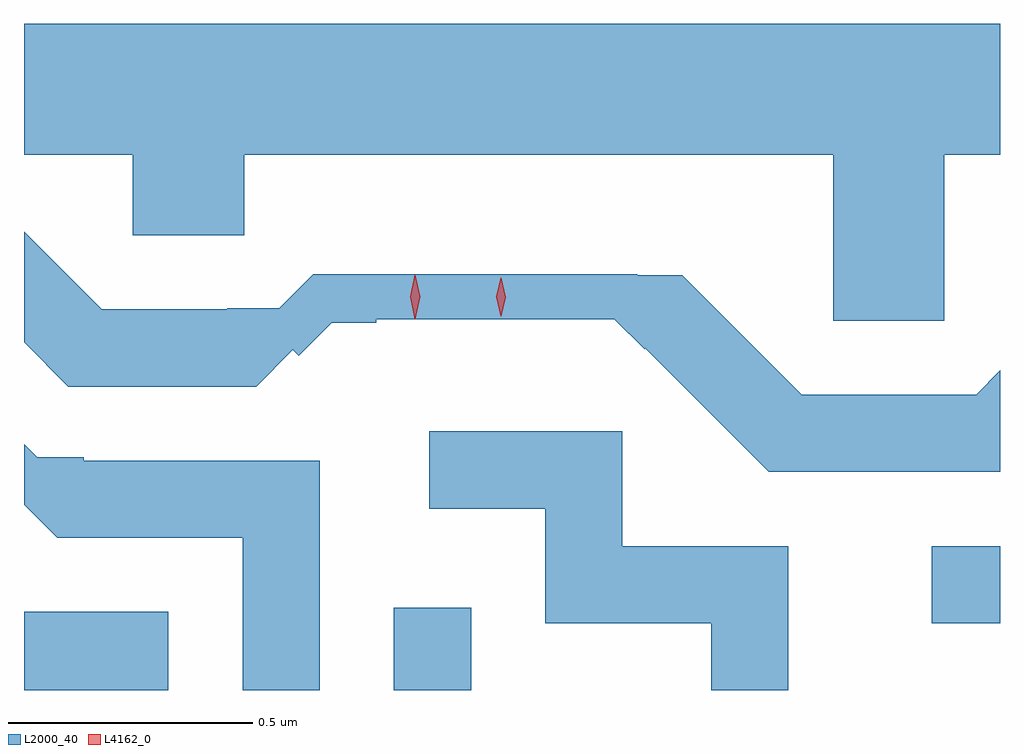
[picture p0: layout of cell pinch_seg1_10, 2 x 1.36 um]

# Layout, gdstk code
import gdstk
lib = gdstk.Library(unit=1e-6, precision=1e-09)
def R(c, l, rs):  # rectangles x0, y0, x1, y1
    for r in rs: c.add(gdstk.rectangle(r[:2], r[2:], *l))
def P(c, l, *ps):  # polygons
    for p in ps: c.add(gdstk.Polygon(p, *l))
L2000_40 = (2000, 40)
L4162_0 = (4162, 0)

pinch_seg1_10 = lib.new_cell('pinch_seg1_10')
R(pinch_seg1_10, L2000_40, [(1554.663,874.059,1554.959,874.219), (1555.421,874.059,1555.579,874.228), (1556.523,874.196,1556.663,874.354)])
P(pinch_seg1_10, L2000_40, [(1554.663,875.156),(1554.886,875.156),(1554.886,874.991),(1555.114,874.991),(1555.114,875.156),(1556.321,875.156),(1556.321,874.816),(1556.549,874.816),(1556.549,875.156),(1556.663,875.156),(1556.663,875.424),(1554.663,875.424)],
  [(1556.663,874.714),(1556.614,874.664),(1556.257,874.664),(1556.012,874.909),(1555.92,874.909),(1555.92,874.911),(1555.256,874.911),(1555.186,874.841),(1555.08,874.841),(1555.08,874.839),(1554.822,874.839),(1554.663,874.998),(1554.663,874.772),(1554.754,874.681),(1555.139,874.681),(1555.214,874.756),(1555.226,874.744),(1555.294,874.812),(1555.385,874.812),(1555.385,874.819),(1555.873,874.819),(1555.935,874.757),(1555.936,874.759),(1556.189,874.506),(1556.663,874.506)],
  [(1556.229,874.354),(1555.889,874.354),(1555.889,874.589),(1555.493,874.589),(1555.493,874.431),(1555.731,874.431),(1555.731,874.196),(1556.071,874.196),(1556.071,874.059),(1556.229,874.059)],
  [(1555.269,874.529),(1554.785,874.529),(1554.785,874.536),(1554.69,874.536),(1554.663,874.563),(1554.663,874.439),(1554.731,874.371),(1555.111,874.371),(1555.111,874.059),(1555.269,874.059)])
P(pinch_seg1_10, L4162_0, [(1555.64,874.825),(1555.64,874.825),(1555.631,874.865),(1555.64,874.904),(1555.641,874.904),(1555.641,874.904),(1555.65,874.864),(1555.641,874.825)],
  [(1555.464,874.819),(1555.455,874.865),(1555.464,874.91),(1555.465,874.911),(1555.465,874.91),(1555.475,874.865),(1555.465,874.819),(1555.465,874.819)])

lib.write_gds('pinch_seg1_10.gds')
